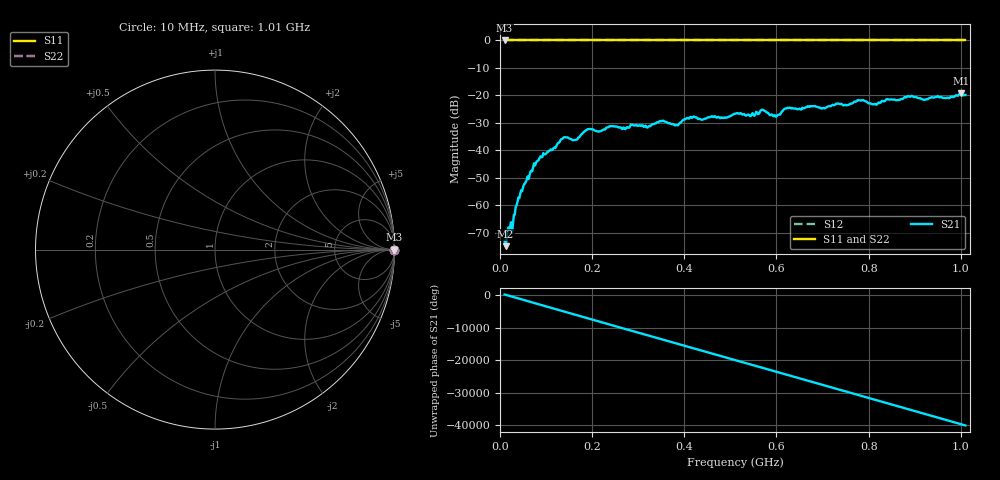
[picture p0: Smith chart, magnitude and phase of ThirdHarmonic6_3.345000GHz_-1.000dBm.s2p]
! 8/17/2025 10:32:41 AM
! C:\ANRITSUVNA\TEMP\TEMP.S2P
! CHANNEL.1
! TR.MEASUREMENT
! RAW.DATA
! RF.CORRECTION.OFF
! AVERAGING.OFF
! IF.BANDWIDTH: 5KHZ
! SWEEPTYPE:  FREQ.SWEEP(Linear)
! Reference Plane Port Info
! PORT:  PORT1  PORT2
! DISTANCE:  0  m  0  m
! TIME:  0  s  0  s
! PHASE.OFFSET:  0  deg.  0  deg.
! LOSS:  0  dB  0  dB
! REF.LOSS:  0  dB  0  dB
! REF.FREQ:  0  Hz  0  Hz
! Power Info
! POWER:  -20  dBm  -20  dBm
! EFF.POWER:  -20  dBm  -20  dBm
! SOURCE.ATTEN:  0  dB  0  dB
! TEST.ATTEN:  0  dB  0  dB
# GHZ S RI R 50.0
! FREQ.GHZ  S11RE  S11IM  S21RE  S21IM  S12RE  S12IM  S22RE  S22IM
!; PortSelection: Port_12
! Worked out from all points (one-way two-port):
!   501 points, 10 MHz to 1.01 GHz, reference 50 ohm
!   highest |S21| = -19.29 dB at 1 GHz (marker M1); lowest = -74.8 dB at 12 MHz (marker M2)
!   lowest |S11| = 0.0 dB at 10 MHz (marker M3)
!   |S11| at or under -10 dB: nowhere
!   |S22| runs from 0.0 to 0.0 dB; largest |S21 - S12| = 1.1
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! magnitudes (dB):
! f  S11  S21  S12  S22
! 10 MHz  0.0  -72.9  0.0  0.0
! 12 MHz  0.0  -74.8  0.0  0.0
! 20 MHz  0.0  -68.6  0.0  0.0
! 28 MHz  0.0  -67.0  0.0  0.0
! 42 MHz  0.0  -57.3  0.0  0.0
! 76 MHz  0.0  -45.5  0.0  0.0
! 136 MHz  0.0  -35.7  0.0  0.0
! 164 MHz  0.0  -36.2  0.0  0.0
! 178 MHz  0.0  -33.9  0.0  0.0
! 344 MHz  0.0  -29.7  0.0  0.0
! 384 MHz  0.0  -30.8  0.0  0.0
! 416 MHz  0.0  -28.1  0.0  0.0
! 510 MHz  0.0  -26.6  0.0  0.0
! 570 MHz  0.0  -25.2  0.0  0.0
! 596 MHz  0.0  -27.2  0.0  0.0
! 622 MHz  0.0  -24.7  0.0  0.0
! 678 MHz  0.0  -23.9  0.0  0.0
! 782 MHz  0.0  -21.8  0.0  0.0
! 814 MHz  0.0  -23.1  0.0  0.0
! 844 MHz  0.0  -21.5  0.0  0.0
! 1 GHz  0.0  -19.3  0.0  0.0
! 1.01 GHz  0.0  -19.8  0.0  0.0
